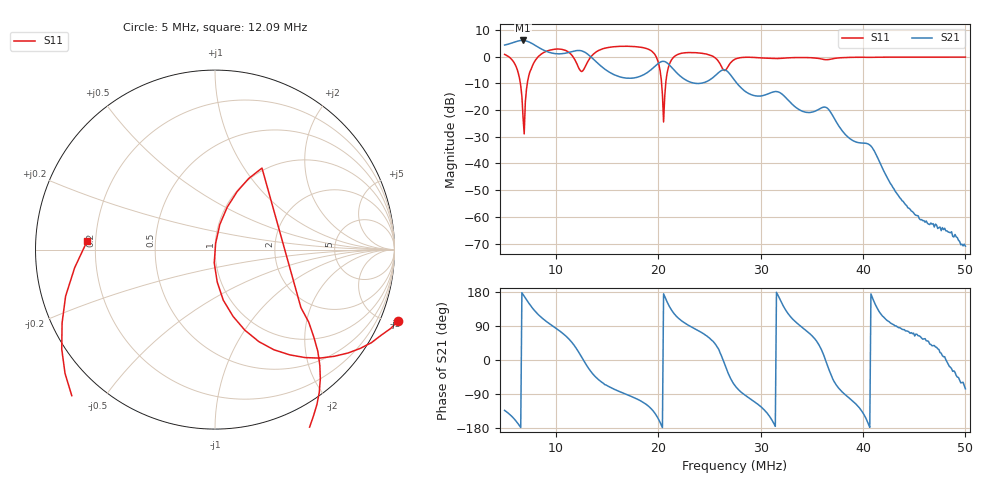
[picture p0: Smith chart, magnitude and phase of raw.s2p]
! S11/S21 only; reverse parameters are placeholders. Device calibration unverified.
! NanoVNA F V2 profile | COM3 | 2026-09-08T11:33:43.3040462-04:00 | device calibration unverified
# HZ S RI R 50
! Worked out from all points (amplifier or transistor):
!   401 points, 5 MHz to 50 MHz, reference 50 ohm
!   highest |S21| = 6.0 dB at 6.8 MHz (marker M1)
!   |S21| within 3 dB of that: start of sweep to 8.496 MHz
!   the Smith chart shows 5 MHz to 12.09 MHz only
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5000000  1.022 -0.3952  -1.12 -1.202  0 0  0 0
6125000  0.3279 -0.558  -1.812 -0.6066  0 0  0 0
6800000  -0.00424 -0.0734  -1.986 0.2479  0 0  0 0
7250000  0.1236 0.3235  -1.733 0.8226  0 0  0 0
7925000  0.5728 -0.5665  -1.066 1.252  0 0  0 0
1.02875e7  -0.1656 -1.372  0.2251 1.102  0 0  0 0
1.16375e7  -0.8539 -0.5542  0.8927 0.8691  0 0  0 0
1.25375e7  -0.1786 0.4934  1.265 0.1579  0 0  0 0
1.355e7  1.025 0.2419  0.7715 -0.5333  0 0  0 0
1.49e7  1.352 -0.5221  0.2299 -0.5117  0 0  0 0
1.88375e7  0.64 -1.263  -0.2234 -0.4335  0 0  0 0
2.0075e7  -0.2178 -0.6595  -0.7064 -0.2784  0 0  0 0
2.0525e7  -0.0481 0.0354  -0.8096 0.0763  0 0  0 0
2.08625e7  0.3992 0.272  -0.6832 0.3374  0 0  0 0
2.19875e7  1.102 -0.129  -0.1563 0.4319  0 0  0 0
2.525e7  0.7914 -0.6621  0.2427 0.3059  0 0  0 0
2.6375e7  0.4549 -0.3313  0.5647 -0.0258  0 0  0 0
2.75e7  0.8696 -0.2061  0.1334 -0.3249  0 0  0 0
3.50375e7  0.6495 -0.6915  0.0408 0.0815  0 0  0 0
4.06625e7  0.5088 -0.8218  -0.0221 -0.000805  0 0  0 0
4.2575e7  0.4434 -0.8702  -0.000835 0.00447  0 0  0 0
5e7  0.1612 -0.9633  6.9e-05 -0.000274  0 0  0 0
